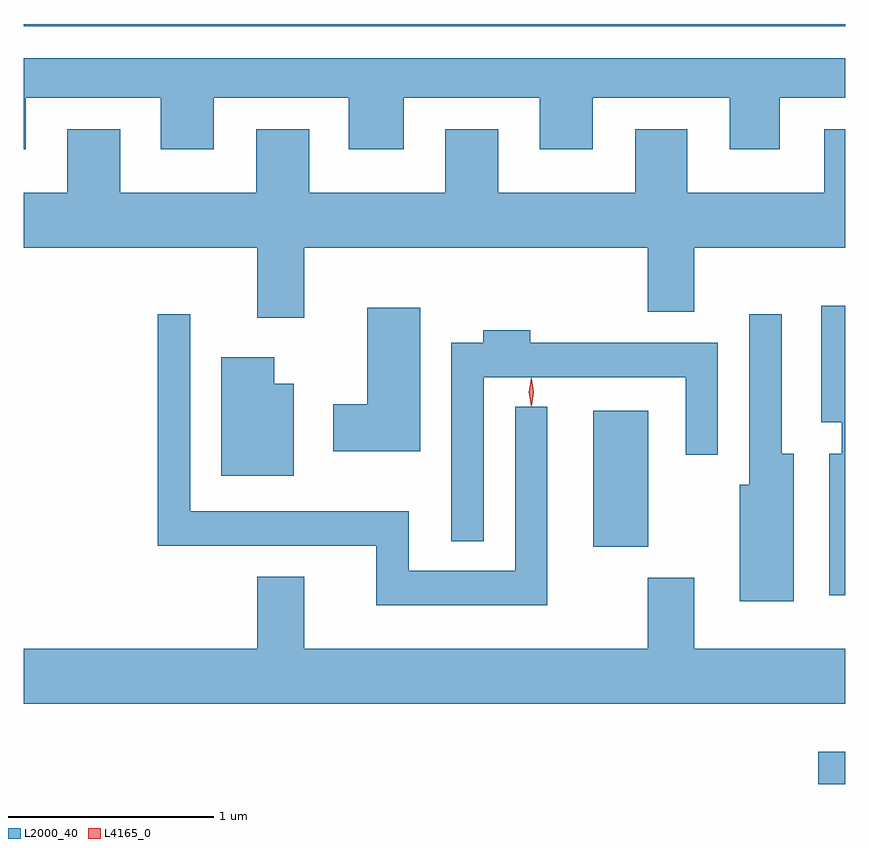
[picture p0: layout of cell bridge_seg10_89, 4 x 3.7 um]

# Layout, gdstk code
import gdstk
lib = gdstk.Library(unit=1e-6, precision=1e-09)
def R(c, l, rs):  # rectangles x0, y0, x1, y1
    for r in rs: c.add(gdstk.rectangle(r[:2], r[2:], *l))
def P(c, l, *ps):  # polygons
    for p in ps: c.add(gdstk.Polygon(p, *l))
L2000_40 = (2000, 40)
L4165_0 = (4165, 0)

bridge_seg10_89 = lib.new_cell('bridge_seg10_89')
R(bridge_seg10_89, L2000_40, [(1584.983,2171.246,1585.114,2171.404), (1583.886,2172.401,1584.154,2173.064), (1581.114,2174.936,1585.114,2174.946)])
P(bridge_seg10_89, L2000_40, [(1581.124,2174.586),(1581.781,2174.586),(1581.781,2174.336),(1582.039,2174.336),(1582.039,2174.586),(1582.696,2174.586),(1582.696,2174.336),(1582.964,2174.336),(1582.964,2174.586),(1583.626,2174.586),(1583.626,2174.336),(1583.884,2174.336),(1583.884,2174.586),(1584.551,2174.586),(1584.551,2174.336),(1584.794,2174.336),(1584.794,2174.586),(1585.114,2174.586),(1585.114,2174.779),(1581.114,2174.779),(1581.114,2174.336),(1581.124,2174.336)],
  [(1582.479,2173.856),(1584.151,2173.856),(1584.151,2173.546),(1584.379,2173.546),(1584.379,2173.856),(1585.114,2173.856),(1585.114,2174.434),(1585.011,2174.434),(1585.011,2174.124),(1584.344,2174.124),(1584.344,2174.434),(1584.091,2174.434),(1584.091,2174.124),(1583.424,2174.124),(1583.424,2174.434),(1583.166,2174.434),(1583.166,2174.124),(1582.504,2174.124),(1582.504,2174.434),(1582.246,2174.434),(1582.246,2174.124),(1581.584,2174.124),(1581.584,2174.434),(1581.326,2174.434),(1581.326,2174.124),(1581.114,2174.124),(1581.114,2173.856),(1582.251,2173.856),(1582.251,2173.516),(1582.479,2173.516)],
  [(1585.114,2173.574),(1584.996,2173.574),(1584.996,2173.006),(1585.096,2173.006),(1585.096,2172.854),(1585.036,2172.854),(1585.036,2172.166),(1585.114,2172.166)],
  [(1583.044,2173.564),(1582.786,2173.564),(1582.786,2173.094),(1582.621,2173.094),(1582.621,2172.866),(1583.044,2172.866)],
  [(1584.864,2172.854),(1584.804,2172.854),(1584.804,2173.533),(1584.646,2173.533),(1584.646,2172.704),(1584.601,2172.704),(1584.601,2172.136),(1584.864,2172.136)],
  [(1583.664,2173.083),(1583.506,2173.083),(1583.506,2172.284),(1582.989,2172.284),(1582.989,2172.574),(1581.924,2172.574),(1581.924,2173.533),(1581.766,2173.533),(1581.766,2172.406),(1582.831,2172.406),(1582.831,2172.116),(1583.664,2172.116)],
  [(1583.354,2173.226),(1584.336,2173.226),(1584.336,2172.848),(1584.494,2172.848),(1584.494,2173.394),(1583.579,2173.394),(1583.579,2173.454),(1583.351,2173.454),(1583.351,2173.394),(1583.196,2173.394),(1583.196,2172.428),(1583.354,2172.428)],
  [(1582.429,2173.194),(1582.334,2173.194),(1582.334,2173.324),(1582.076,2173.324),(1582.076,2172.746),(1582.429,2172.746)],
  [(1585.114,2171.904),(1584.379,2171.904),(1584.379,2172.249),(1584.151,2172.249),(1584.151,2171.904),(1582.479,2171.904),(1582.479,2172.254),(1582.251,2172.254),(1582.251,2171.904),(1581.114,2171.904),(1581.114,2171.636),(1585.114,2171.636)])
P(bridge_seg10_89, L4165_0, [(1583.584,2173.084),(1583.584,2173.084),(1583.574,2173.153),(1583.584,2173.222),(1583.584,2173.223),(1583.585,2173.222),(1583.594,2173.153),(1583.585,2173.084)],
  [(1583.587,2173.087),(1583.586,2173.088),(1583.577,2173.154),(1583.586,2173.22),(1583.587,2173.221),(1583.587,2173.22),(1583.597,2173.154),(1583.587,2173.088)])

lib.write_gds('bridge_seg10_89.gds')
